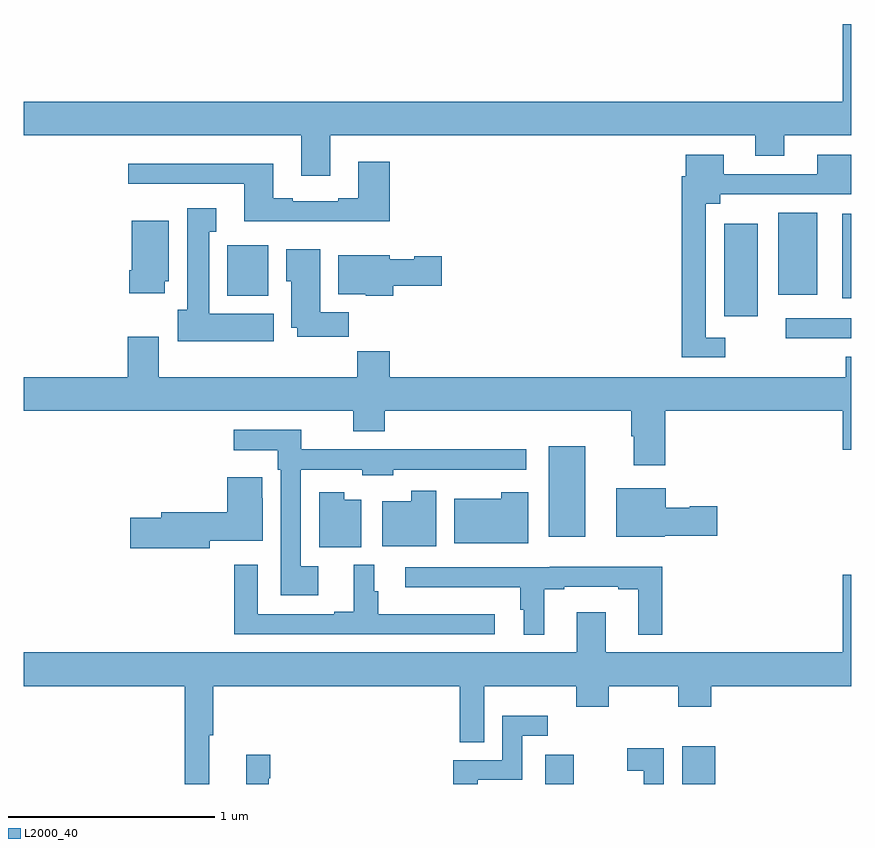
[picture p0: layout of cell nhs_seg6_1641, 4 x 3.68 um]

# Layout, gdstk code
import gdstk
lib = gdstk.Library(unit=1e-6, precision=1e-09)
def R(c, l, rs):  # rectangles x0, y0, x1, y1
    for r in rs: c.add(gdstk.rectangle(r[:2], r[2:], *l))
def P(c, l, *ps):  # polygons
    for p in ps: c.add(gdstk.Polygon(p, *l))
L2000_40 = (2000, 40)

nhs_seg6_1641 = lib.new_cell('nhs_seg6_1641')
R(nhs_seg6_1641, L2000_40, [(211.52,977.5,211.66,977.641), (212.183,977.5,212.342,977.683), (211.538,978.695,211.714,979.132), (212.685,979.656,213,979.752), (212.387,979.761,212.548,980.209), (212.957,979.85,213,980.257), (209.984,979.862,210.181,980.104), (212.648,979.865,212.836,980.263)])
P(nhs_seg6_1641, L2000_40, [(210.481,980.636),(212.537,980.636),(212.537,980.537),(212.677,980.537),(212.677,980.636),(213,980.636),(213,981.175),(212.96,981.175),(212.96,980.8),(209,980.8),(209,980.636),(210.341,980.636),(210.341,980.442),(210.481,980.442)],
  [(212.392,979.659),(212.298,979.659),(212.298,980.306),(212.368,980.306),(212.368,980.352),(213,980.352),(213,980.542),(212.837,980.542),(212.837,980.448),(212.383,980.448),(212.383,980.542),(212.201,980.542),(212.201,980.438),(212.182,980.438),(212.182,979.563),(212.392,979.563)],
  [(210.77,980.509),(210.617,980.509),(210.617,980.332),(210.521,980.332),(210.521,980.319),(210.301,980.319),(210.301,980.332),(210.205,980.332),(210.205,980.5),(209.505,980.5),(209.505,980.403),(210.065,980.403),(210.065,980.222),(210.77,980.222)],
  [(210.208,979.774),(209.896,979.774),(209.896,980.171),(209.929,980.171),(209.929,980.284),(209.789,980.284),(209.789,979.794),(209.744,979.794),(209.744,979.64),(210.208,979.64)],
  [(209.68,979.932),(209.701,979.932),(209.701,980.224),(209.522,980.224),(209.522,979.984),(209.51,979.984),(209.51,979.872),(209.68,979.872)],
  [(210.572,979.78),(210.433,979.78),(210.433,980.086),(210.269,980.086),(210.269,979.932),(210.293,979.932),(210.293,979.706),(210.323,979.706),(210.323,979.662),(210.572,979.662)],
  [(210.785,979.909),(211.021,979.909),(211.021,980.051),(210.888,980.051),(210.888,980.038),(210.768,980.038),(210.768,980.056),(210.521,980.056),(210.521,979.868),(210.654,979.868),(210.654,979.862),(210.785,979.862)],
  [(212.102,979.304),(212.96,979.304),(212.96,979.116),(213,979.116),(213,979.567),(212.975,979.567),(212.975,979.468),(210.77,979.468),(210.77,979.592),(210.613,979.592),(210.613,979.468),(209.653,979.468),(209.653,979.663),(209.501,979.663),(209.501,979.468),(209,979.468),(209,979.304),(210.593,979.304),(210.593,979.205),(210.746,979.205),(210.746,979.304),(211.937,979.304),(211.937,979.181),(211.949,979.181),(211.949,979.041),(212.102,979.041)],
  [(210.424,978.553),(210.339,978.553),(210.339,979.02),(210.636,979.02),(210.636,978.992),(210.786,978.992),(210.786,979.02),(211.09,979.02),(211.09,979.019),(211.429,979.019),(211.429,979.118),(210.342,979.118),(210.342,979.212),(210.015,979.212),(210.015,979.115),(210.227,979.115),(210.227,979.019),(210.243,979.019),(210.243,978.413),(210.424,978.413)],
  [(209.898,978.677),(210.154,978.677),(210.154,978.881),(210.153,978.881),(210.153,978.984),(209.984,978.984),(209.984,978.813),(209.663,978.813),(209.663,978.788),(209.514,978.788),(209.514,978.641),(209.898,978.641)],
  [(212.1,978.701),(212.353,978.701),(212.353,978.843),(212.22,978.843),(212.22,978.835),(212.104,978.835),(212.104,978.931),(211.865,978.931),(211.865,978.695),(212.1,978.695)],
  [(210.994,978.919),(210.872,978.919),(210.872,978.868),(210.734,978.868),(210.734,978.65),(210.994,978.65)],
  [(210.631,978.874),(210.55,978.874),(210.55,978.91),(210.428,978.91),(210.428,978.644),(210.631,978.644)],
  [(211.438,978.91),(211.309,978.91),(211.309,978.88),(211.082,978.88),(211.082,978.665),(211.438,978.665)],
  [(211.276,978.322),(210.713,978.322),(210.713,978.432),(210.694,978.432),(210.694,978.559),(210.596,978.559),(210.596,978.334),(210.5,978.334),(210.5,978.321),(210.132,978.321),(210.132,978.559),(210.016,978.559),(210.016,978.225),(211.276,978.225)],
  [(211.516,978.441),(211.612,978.441),(211.612,978.453),(211.874,978.453),(211.874,978.441),(211.97,978.441),(211.97,978.221),(212.087,978.221),(212.087,978.55),(211.542,978.55),(211.542,978.549),(210.843,978.549),(210.843,978.452),(211.399,978.452),(211.399,978.342),(211.418,978.342),(211.418,978.221),(211.516,978.221)],
  [(209.897,977.736),(209.915,977.736),(209.915,977.972),(211.107,977.972),(211.107,977.701),(211.225,977.701),(211.225,977.972),(211.672,977.972),(211.672,977.873),(211.827,977.873),(211.827,977.972),(212.164,977.972),(212.164,977.873),(212.324,977.873),(212.324,977.972),(213,977.972),(213,978.511),(212.96,978.511),(212.96,978.136),(211.813,978.136),(211.813,978.331),(211.673,978.331),(211.673,978.136),(209,978.136),(209,977.972),(209.779,977.972),(209.779,977.5),(209.897,977.5)],
  [(211.195,977.52),(211.41,977.52),(211.41,977.733),(211.534,977.733),(211.534,977.83),(211.314,977.83),(211.314,977.616),(211.077,977.616),(211.077,977.5),(211.195,977.5)],
  [(212.094,977.674),(211.917,977.674),(211.917,977.565),(211.998,977.565),(211.998,977.5),(212.094,977.5)],
  [(210.184,977.528),(210.191,977.528),(210.191,977.641),(210.074,977.641),(210.074,977.5),(210.184,977.5)])

lib.write_gds('nhs_seg6_1641.gds')
